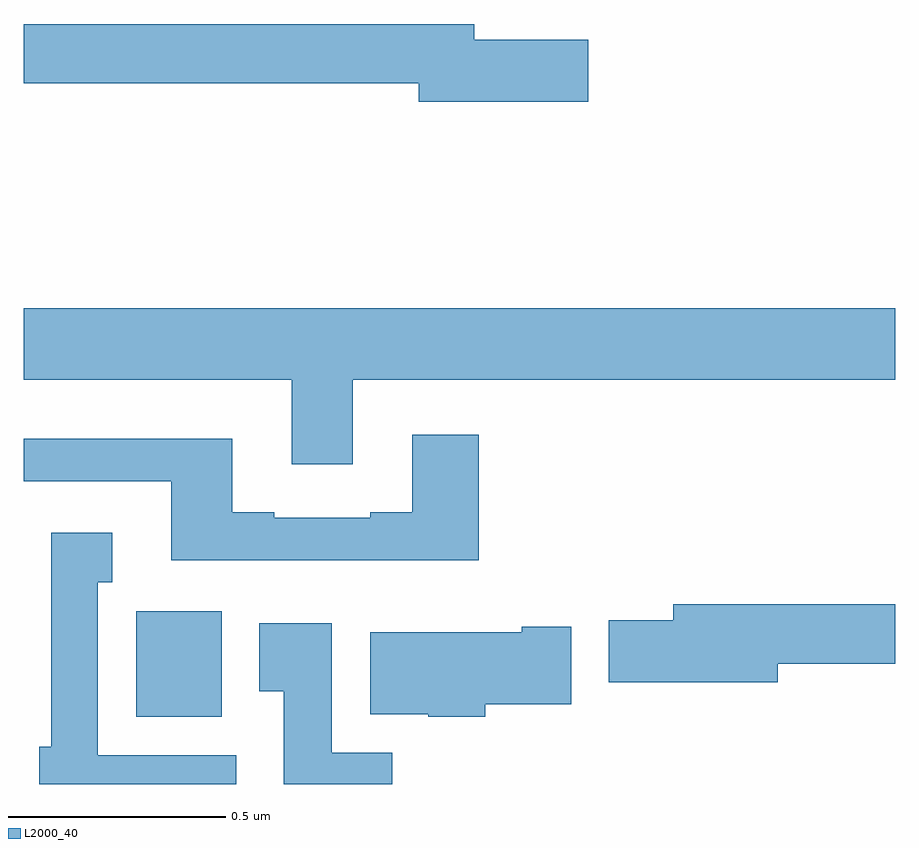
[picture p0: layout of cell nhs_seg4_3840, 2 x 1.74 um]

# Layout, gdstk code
import gdstk
lib = gdstk.Library(unit=1e-6, precision=1e-09)
def R(c, l, rs):  # rectangles x0, y0, x1, y1
    for r in rs: c.add(gdstk.rectangle(r[:2], r[2:], *l))
def P(c, l, *ps):  # polygons
    for p in ps: c.add(gdstk.Polygon(p, *l))
L2000_40 = (2000, 40)

nhs_seg4_3840 = lib.new_cell('nhs_seg4_3840')
R(nhs_seg4_3840, L2000_40, [(158.258,788.054,158.455,788.296)])
P(nhs_seg4_3840, L2000_40, [(159.295,789.608),(159.034,789.608),(159.034,789.644),(158,789.644),(158,789.508),(158.906,789.508),(158.906,789.466),(159.295,789.466)],
  [(158.755,788.828),(160,788.828),(160,788.992),(158,788.992),(158,788.828),(158.615,788.828),(158.615,788.634),(158.755,788.634)],
  [(159.044,788.701),(158.891,788.701),(158.891,788.524),(158.795,788.524),(158.795,788.511),(158.575,788.511),(158.575,788.524),(158.479,788.524),(158.479,788.692),(158,788.692),(158,788.595),(158.339,788.595),(158.339,788.414),(159.044,788.414)],
  [(158.488,787.966),(158.17,787.966),(158.17,788.363),(158.203,788.363),(158.203,788.476),(158.063,788.476),(158.063,787.986),(158.036,787.986),(158.036,787.9),(158.488,787.9)],
  [(159.73,788.176),(160,788.176),(160,788.312),(159.491,788.312),(159.491,788.276),(159.342,788.276),(159.342,788.134),(159.73,788.134)],
  [(158.846,787.972),(158.707,787.972),(158.707,788.269),(158.54,788.269),(158.54,788.113),(158.597,788.113),(158.597,787.9),(158.846,787.9)],
  [(159.059,788.083),(159.256,788.083),(159.256,788.261),(159.143,788.261),(159.143,788.248),(158.795,788.248),(158.795,788.06),(158.928,788.06),(158.928,788.054),(159.059,788.054)])

lib.write_gds('nhs_seg4_3840.gds')
